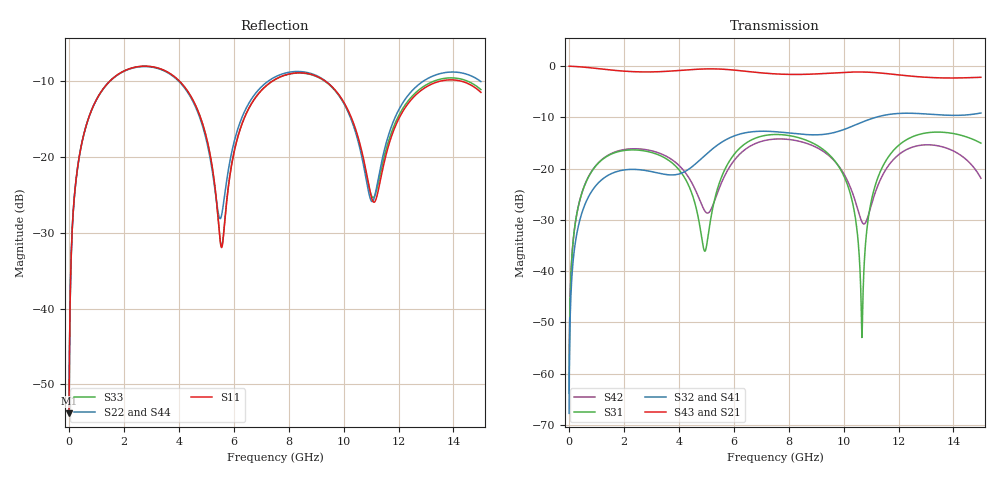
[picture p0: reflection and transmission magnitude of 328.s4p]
! Created with skrf 1.8.0 (http://scikit-rf.org).
# GHz S RI R 50.0
!freq ReS11 ImS11 ReS12 ImS12 ReS13 ImS13
! ReS14 ImS14
! ReS21 ImS21 ReS22 ImS22 ReS23 ImS23
! ReS24 ImS24
! ReS31 ImS31 ReS32 ImS32 ReS33 ImS33
! ReS34 ImS34
! ReS41 ImS41 ReS42 ImS42 ReS43 ImS43
! ReS44 ImS44
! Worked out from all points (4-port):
!   2499 points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, 5 MHz to 15 GHz, reference 50 ohm
!   strongest paths, dB at 5 MHz, 3.476 GHz, 7.19 GHz, 11.1 GHz, 15 GHz:
!     S43: 0.0, -1.0, -1.4, -1.2, -2.2
!     S21: 0.0, -1.0, -1.4, -1.2, -2.1
!     S32: -67.8, -21.1, -12.7, -10.1, -9.2
!     S41: -67.8, -21.1, -12.7, -10.1, -9.2
!     S31: -63.8, -17.9, -13.5, -24.3, -15.0
!     S42: -63.8, -17.4, -14.5, -25.6, -21.9
!   lowest |S11| = -53.8 dB at 5 MHz (marker M1), VSWR 1.00, Z = 50.2 + j0.124 ohm
!   |S11| at or under -10 dB: start of sweep to 1.497 GHz; 4.014 GHz to 7.42 GHz (3.406 GHz wide, 59.6 % of centre); 9.324 GHz to 13.56 GHz (4.232 GHz wide, 37 % of centre) (the widest 3 of 4)
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0.005  0.00162 0.00123  0.9983 -0.00316  8.13e-05 0.00064  -7.9e-05 -0.000402
       0.9983 -0.00316  0.00162 0.00123  -7.9e-05 -0.000402  8.14e-05 0.00064
       8.13e-05 0.00064  -7.9e-05 -0.000402  0.00162 0.00123  0.9983 -0.00316
       -7.9e-05 -0.000402  8.14e-05 0.00064  0.9983 -0.00316  0.00162 0.00123
1.569404  0.2721 0.1783  0.5482 -0.7306  0.1238 0.0644  -0.0897 -0.00615
          0.5482 -0.7306  0.2701 0.1797  -0.0897 -0.00611  0.1296 0.0566
          0.1238 0.0644  -0.0897 -0.00611  0.272 0.1783  0.5482 -0.7307
          -0.0897 -0.00615  0.1296 0.0566  0.5482 -0.7307  0.2701 0.1796
5.370988  0.027 -0.0438  -0.9264 -0.1479  0.0211 0.0547  -0.0241 0.1651
          -0.9264 -0.1479  0.0401 -0.0317  -0.0233 0.1652  -0.0331 0.0433
          0.0211 0.0547  -0.0233 0.1652  0.0273 -0.0432  -0.9265 -0.1477
          -0.0241 0.1651  -0.0331 0.0433  -0.9265 -0.1477  0.0395 -0.0312
8.634848  0.352 -0.045  0.025 0.8307  0.1631 -0.0964  0.1995 -0.0775
          0.025 0.8307  0.3558 -0.0576  0.1996 -0.0792  0.1581 -0.0795
          0.1631 -0.0964  0.1996 -0.0792  0.3509 -0.0435  0.0248 0.8311
          0.1995 -0.0775  0.1581 -0.0795  0.0248 0.8311  0.355 -0.0586
10.66694  0.0691 -0.0831  0.8049 0.3445  0.00214 -0.000689  0.1046 -0.2632
          0.8049 0.3445  0.0658 -0.0742  0.1015 -0.2645  -0.0289 -0.00899
          0.00214 -0.000689  0.1015 -0.2645  0.0711 -0.077  0.8058 0.3436
          0.1046 -0.2632  -0.0289 -0.00899  0.8058 0.3436  0.06 -0.0711
11.70488  0.0915 0.0919  0.8201 -0.1742  0.1103 0.0836  -0.0954 -0.3256
          0.8201 -0.1742  0.1041 0.1102  -0.099 -0.3243  0.0577 0.0974
          0.1103 0.0836  -0.099 -0.3243  0.0983 0.0974  0.8188 -0.1755
          -0.0954 -0.3256  0.0577 0.0974  0.8188 -0.1755  0.1012 0.119
15  0.2492 -0.0923  -0.2876 -0.7262  -0.00199 -0.1772  -0.3126 0.1525
    -0.2876 -0.7262  0.2843 -0.1317  -0.3111 0.1574  0.0318 -0.0739
    -0.00199 -0.1772  -0.3111 0.1574  0.2598 -0.0961  -0.2823 -0.7244
    -0.3126 0.1525  0.0318 -0.0739  -0.2823 -0.7244  0.2959 -0.1327
